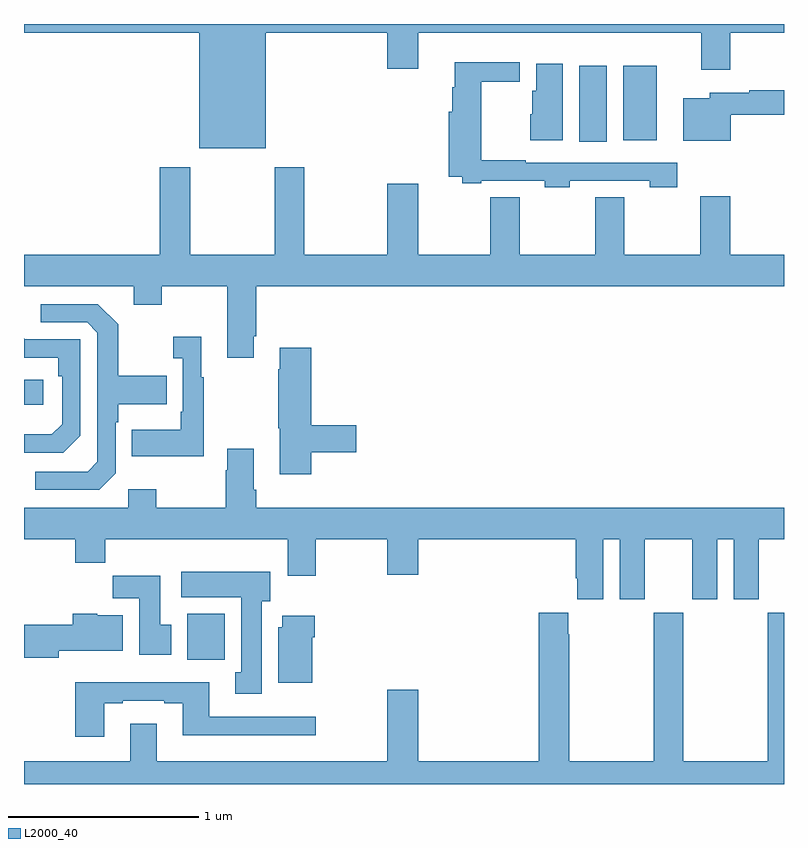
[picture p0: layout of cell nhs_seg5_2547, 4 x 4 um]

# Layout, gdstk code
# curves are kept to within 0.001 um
import gdstk
lib = gdstk.Library(unit=1e-6, precision=1e-09)
def R(c, l, rs):  # rectangles x0, y0, x1, y1
    for r in rs: c.add(gdstk.rectangle(r[:2], r[2:], *l))
def P(c, l, *ps):  # polygons
    for p in ps: c.add(gdstk.Polygon(p, *l))
L2000_40 = (2000, 40)

nhs_seg5_2547 = lib.new_cell('nhs_seg5_2547')
R(nhs_seg5_2547, L2000_40, [(259.859,861.452,260.056,861.694), (259,862.796,259.102,862.926), (261.923,864.18,262.066,864.58), (262.154,864.188,262.33,864.58)])
P(nhs_seg5_2547, L2000_40, [(260.272,864.752),(260.912,864.752),(260.912,864.564),(261.076,864.564),(261.076,864.752),(262.565,864.752),(262.565,864.558),(262.718,864.558),(262.718,864.752),(263,864.752),(263,864.799),(259,864.799),(259,864.752),(259.922,864.752),(259.922,864.146),(260.272,864.146)],
  [(261.873,863.973),(262.293,863.973),(262.293,863.941),(262.438,863.941),(262.438,864.069),(261.641,864.069),(261.641,864.082),(261.406,864.082),(261.406,864.496),(261.61,864.496),(261.61,864.598),(261.266,864.598),(261.266,864.465),(261.254,864.465),(261.254,864.336),(261.236,864.336),(261.236,863.996),(261.306,863.996),(261.306,863.961),(261.406,863.961),(261.406,863.973),(261.741,863.973),(261.741,863.941),(261.873,863.941)],
  [(261.835,864.589),(261.695,864.589),(261.695,864.447),(261.674,864.447),(261.674,864.324),(261.665,864.324),(261.665,864.188),(261.835,864.188)],
  [(262.72,864.322),(263,864.322),(263,864.451),(262.816,864.451),(262.816,864.438),(262.61,864.438),(262.61,864.409),(262.469,864.409),(262.469,864.185),(262.72,864.185)],
  [(260.209,863.155),(260.222,863.155),(260.222,863.42),(263,863.42),(263,863.584),(262.718,863.584),(262.718,863.893),(262.558,863.893),(262.558,863.584),(262.16,863.584),(262.16,863.888),(262.006,863.888),(262.006,863.584),(261.608,863.584),(261.608,863.888),(261.454,863.888),(261.454,863.584),(261.076,863.584),(261.076,863.959),(260.912,863.959),(260.912,863.584),(260.475,863.584),(260.475,864.046),(260.32,864.046),(260.32,863.584),(259.875,863.584),(259.875,864.046),(259.715,864.046),(259.715,863.584),(259,863.584),(259,863.42),(259.577,863.42),(259.577,863.321),(259.725,863.321),(259.725,863.42),(260.069,863.42),(260.069,863.043),(260.209,863.043)],
  [(259.482,862.434),(259.482,862.703),(259.495,862.703),(259.495,862.799),(259.751,862.799),(259.751,862.947),(259.495,862.947),(259.495,863.219),(259.389,863.325),(259.089,863.325),(259.089,863.229),(259.332,863.229),(259.386,863.175),(259.386,862.494),(259.335,862.443),(259.059,862.443),(259.059,862.347),(259.395,862.347)],
  [(259.945,862.939),(259.933,862.939),(259.933,863.152),(259.785,863.152),(259.785,863.039),(259.836,863.039),(259.836,862.759),(259.824,862.759),(259.824,862.663),(259.567,862.663),(259.567,862.523),(259.945,862.523)],
  [(259.296,862.632),(259.296,863.139),(259.001,863.139),(259,863.144),(259,863.043),(259.18,863.043),(259.18,862.946),(259.2,862.946),(259.2,862.692),(259.147,862.639),(259,862.639),(259,862.542),(259.206,862.542)],
  [(260.513,862.546),(260.749,862.546),(260.749,862.688),(260.513,862.688),(260.513,863.095),(260.345,863.095),(260.345,862.982),(260.338,862.982),(260.338,862.671),(260.345,862.671),(260.345,862.428),(260.513,862.428)],
  [(259,862.088),(259.271,862.088),(259.271,861.964),(259.427,861.964),(259.427,862.088),(260.387,862.088),(260.387,861.894),(260.535,861.894),(260.535,862.088),(260.912,862.088),(260.912,861.9),(261.076,861.9),(261.076,862.088),(261.904,862.088),(261.904,861.883),(261.911,861.883),(261.911,861.771),(262.048,861.771),(262.048,862.088),(262.136,862.088),(262.136,861.771),(262.267,861.771),(262.267,862.088),(262.517,862.088),(262.517,861.771),(262.648,861.771),(262.648,862.088),(262.736,862.088),(262.736,861.771),(262.867,861.771),(262.867,862.088),(263,862.088),(263,862.252),(260.222,862.252),(260.222,862.348),(260.209,862.348),(260.209,862.564),(260.069,862.564),(260.069,862.451),(260.062,862.451),(260.062,862.252),(259.695,862.252),(259.695,862.351),(259.548,862.351),(259.548,862.252),(259,862.252)],
  [(260.251,861.762),(260.296,861.762),(260.296,861.916),(259.827,861.916),(259.827,861.782),(260.144,861.782),(260.144,861.386),(260.111,861.386),(260.111,861.273),(260.251,861.273)],
  [(259.774,861.636),(259.717,861.636),(259.717,861.895),(259.468,861.895),(259.468,861.776),(259.607,861.776),(259.607,861.48),(259.774,861.48)],
  [(263,861.7),(262.915,861.7),(262.915,860.92),(262.47,860.92),(262.47,861.7),(262.315,861.7),(262.315,860.92),(261.87,860.92),(261.87,861.587),(261.865,861.587),(261.865,861.7),(261.71,861.7),(261.71,860.92),(261.076,860.92),(261.076,861.295),(260.912,861.295),(260.912,860.92),(259.699,860.92),(259.699,861.115),(259.559,861.115),(259.559,860.92),(259,860.92),(259,860.799),(263,860.799)],
  [(259.182,861.5),(259.519,861.5),(259.519,861.688),(259.386,861.688),(259.386,861.694),(259.256,861.694),(259.256,861.636),(259,861.636),(259,861.464),(259.182,861.464)],
  [(260.518,861.572),(260.531,861.572),(260.531,861.685),(260.36,861.685),(260.36,861.624),(260.339,861.624),(260.339,861.332),(260.518,861.332)],
  [(259.423,861.225),(259.519,861.225),(259.519,861.237),(259.739,861.237),(259.739,861.225),(259.835,861.225),(259.835,861.056),(260.536,861.056),(260.536,861.153),(259.975,861.153),(259.975,861.334),(259.271,861.334),(259.271,861.048),(259.423,861.048)])

lib.write_gds('nhs_seg5_2547.gds')
